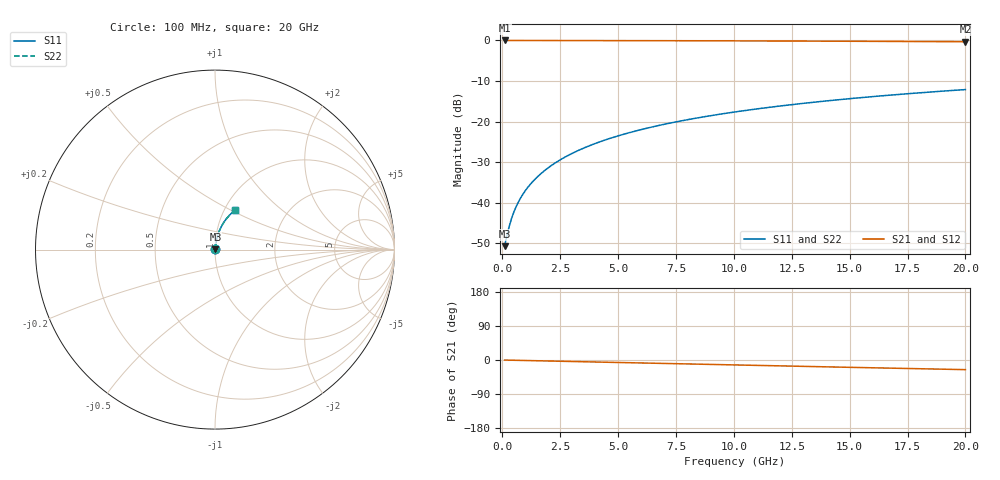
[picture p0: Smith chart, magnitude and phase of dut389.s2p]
! Touchstone file exported from HFSS 2026.1.0
!  File:  C:/ffzhzh/LocalFiles/Ansys_Project_Files/temp_train_BSMRDL_389_1783012129_51716.aedt
!  Generated:  01:10:16 AM Jul  3, 2026
!  Design:  BSMRDL
!  Project:  temp_train_BSMRDL_389_1783012129_51716
! Variables:
!  h_bsmrdl = 2.34um
!  h_ox = 20um
!  h_rdl = 5um
!  h_sub = 80um
!  h_tmrdl = 5um
!  h_tsv = 80um
!  h_via = 3um
!  l_bsmrdl = 336.19um
!  l_sub = 736.19um
!  l_tmrdl = 200um
!  m_sub = 200um
!  pitch = 47.34um
!  r_tsv = 6um
!  s_tmrdl = 10um
!  w_bsmrdl = 23.4um
!  w_sub = 500um
!  w_tmrdl = 12um
!  x_tsv_center1 = 206um
!  x_tsv_center2 = 565.59um
!  x_tsv_center3 = 777.59um
!  x_tsv_center4 = 1137.18um
!  x_tsv_center5 = 1349.18um
!  x_tsv_center6 = 1708.77um
# GHz S MA R 50.000000
! Terminal data exported
! Port[1] = BSM_RDL1_1_T1
! Port[2] = BSM_RDL1_1_T2
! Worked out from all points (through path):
!   200 points, 100 MHz to 20 GHz, reference 50 ohm
!   highest |S21| = -0.02 dB at 100 MHz (marker M1); lowest = -0.3 dB at 20 GHz (marker M2)
!   group delay of S21, straight-line fit = 3.54 ps
!   lowest |S11| = -50.7 dB at 100 MHz (marker M3), VSWR 1.01, Z = 50.3 + j0.149 ohm
!   |S11| at or under -10 dB: start of sweep to end of sweep
!   |S22| runs from -50.7 to -12.1 dB; largest |S21 - S12| = 2.7e-15
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0.1  0.002925 30.4  0.9975 -0.1  0.9975 -0.1  0.002925 30.4
! Gamma 0 0 0 0
! Port Impedance 50 0 50 0
0.2  0.003925 48.5  0.9974 -0.3  0.9974 -0.3  0.003925 48.5
0.3  0.005138 58.2  0.9973 -0.4  0.9973 -0.4  0.005138 58.2
0.4  0.006416 63.8  0.9972 -0.6  0.9972 -0.6  0.006416 63.8
0.5  0.007708 67.4  0.9971 -0.7  0.9971 -0.7  0.007708 67.4
0.6  0.009 70.0  0.997 -0.8  0.997 -0.8  0.009 70.0
0.8  0.01158 73.4  0.9968 -1.1  0.9968 -1.1  0.01158 73.4
1.1  0.01546 76.5  0.9967 -1.5  0.9967 -1.5  0.01546 76.5
1.3  0.01805 77.8  0.9966 -1.7  0.9966 -1.7  0.01805 77.8
1.6  0.02197 79.1  0.9964 -2.1  0.9964 -2.1  0.02197 79.1
2.1  0.02853 80.3  0.9962 -2.8  0.9962 -2.8  0.02853 80.3
2.7  0.03643 80.9  0.9958 -3.6  0.9958 -3.6  0.03643 80.9
3.5  0.04698 80.9  0.9953 -4.6  0.9953 -4.6  0.04698 80.9
4.2  0.0562 80.6  0.9947 -5.5  0.9947 -5.5  0.0562 80.6
5  0.0667 80.1  0.9939 -6.6  0.9939 -6.6  0.0667 80.1
5.9  0.07845 79.3  0.9928 -7.7  0.9928 -7.7  0.07845 79.3
6.8  0.09013 78.4  0.9917 -8.9  0.9917 -8.9  0.09013 78.4
8.3  0.1094 76.7  0.9894 -10.8  0.9894 -10.8  0.1094 76.7
10.1  0.1321 74.7  0.9862 -13.1  0.9862 -13.1  0.1321 74.7
13.4  0.1725 70.7  0.9791 -17.3  0.9791 -17.3  0.1725 70.7
16.7  0.2112 66.8  0.9708 -21.4  0.9708 -21.4  0.2112 66.8
20  0.2478 62.9  0.9615 -25.4  0.9615 -25.4  0.2478 62.9
